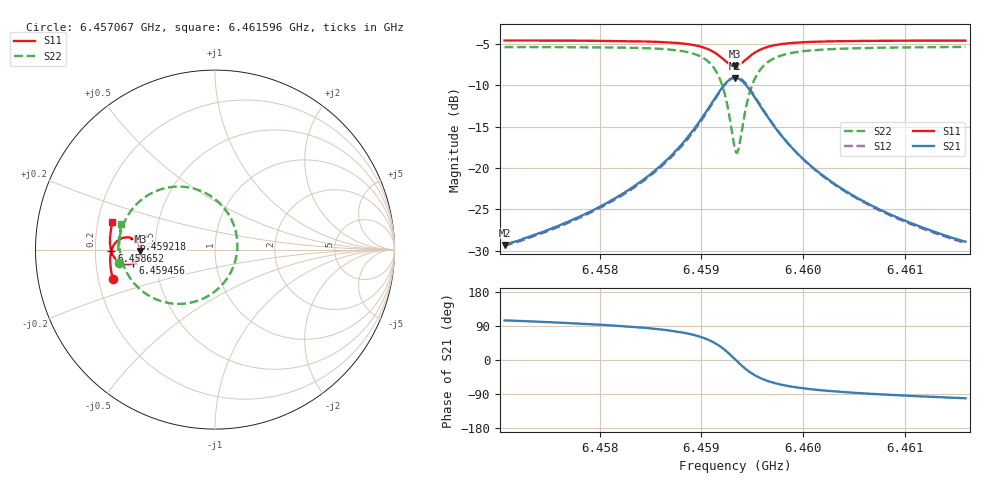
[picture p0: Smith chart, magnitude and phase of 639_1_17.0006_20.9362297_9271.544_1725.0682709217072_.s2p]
#  HZ  S  RI  R  50.00
! Rohde & Schwarz Vector Network Analyzer
! Rohde-Schwarz,ZNB20-2Port,1311601062101988,3.16
! Created: UTC 3/20/2024, 11:20:45 PM
! freq[Hz]  re:S11  im:S11  re:S21  im:S21  re:S12  im:S12  re:S22  im:S22
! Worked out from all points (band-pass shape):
!   401 points, 6.457067 GHz to 6.461596 GHz, reference 50 ohm
!   highest |S21| = -9.08 dB at 6.459331 GHz (marker M1); lowest = -29.3 dB at 6.457067 GHz (marker M2)
!   |S21| within 3 dB of the highest: 6.459106 GHz to 6.459558 GHz (452.7 kHz wide, 0.00701 % of centre)
!   lowest |S11| = -7.6 dB at 6.459331 GHz (marker M3), VSWR 2.42, Z = 20.7 - j0.348 ohm
!   |S11| at or under -10 dB: nowhere
!   |S22| runs from -18.1 to -5.3 dB; largest |S21 - S12| = 0.014
!   S11 on the Smith chart (normalised r, x): 6.457067 GHz: 0.26, -0.13; 6.458652 GHz: 0.27, -0.00; 6.459218 GHz: 0.38, +0.05; 6.459456 GHz: 0.37, -0.07; 6.461596 GHz: 0.26, +0.12
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6.4570672e9  -0.5686 -0.1653  -0.00853 0.0332  -0.00687 0.033  -0.5346 -0.0765
6.4578257e9  -0.5817 -0.0985  -0.0051 0.0513  -0.00248 0.0507  -0.5386 0.0136
6.4582333e9  -0.5841 -0.0574  0.000845 0.0703  0.00413 0.0689  -0.53 0.079
6.4585843e9  -0.5797 -0.0152  0.0154 0.1003  0.0195 0.0974  -0.5028 0.1591
6.4586522e9  -0.5775 -0.00566  0.0208 0.1087  0.0249 0.1053  -0.4923 0.1792
6.4588447e9  -0.5645 0.0247  0.048 0.1399  0.0522 0.1348  -0.4413 0.2485
6.4589918e9  -0.5412 0.0509  0.0943 0.1706  0.0975 0.1636  -0.3558 0.3131
6.4591277e9  -0.4968 0.0682  0.1828 0.1868  0.1836 0.1793  -0.1937 0.3511
6.4592183e9  -0.4516 0.0574  0.274 0.1545  0.2741 0.1488  -0.0246 0.2987
6.4592862e9  -0.4222 0.0247  0.3351 0.0812  0.3374 0.076  0.0923 0.1662
6.4593315e9  -0.4152 -0.00696  0.3514 0.0121  0.3553 0.00512  0.1245 0.0364
6.4593654e9  -0.4192 -0.0311  0.3453 -0.0412  0.3495 -0.0504  0.1123 -0.065
6.4594107e9  -0.4353 -0.0576  0.3158 -0.1021  0.3183 -0.1143  0.0528 -0.1805
6.459456e9  -0.4577 -0.0742  0.2729 -0.1439  0.2721 -0.1573  -0.0346 -0.2563
6.4595466e9  -0.5018 -0.0812  0.1863 -0.1748  0.1799 -0.1867  -0.2076 -0.3024
6.4596145e9  -0.5265 -0.0738  0.1371 -0.1727  0.1289 -0.1817  -0.3029 -0.2865
6.4596938e9  -0.5463 -0.0606  0.0968 -0.1601  0.088 -0.1665  -0.3784 -0.2507
6.4598523e9  -0.5682 -0.0327  0.0514 -0.1314  0.0435 -0.1342  -0.4597 -0.1768
6.46009e9  -0.5809 0.00293  0.022 -0.099  0.016 -0.0996  -0.5078 -0.0929
6.4604296e9  -0.5853 0.0437  0.00599 -0.0717  0.00171 -0.071  -0.5291 -0.0128
6.4608485e9  -0.5834 0.086  -0.00177 -0.0527  -0.00464 -0.0518  -0.5331 0.0555
6.4615957e9  -0.5711 0.1526  -0.00682 -0.0352  -0.00855 -0.0341  -0.5215 0.145
